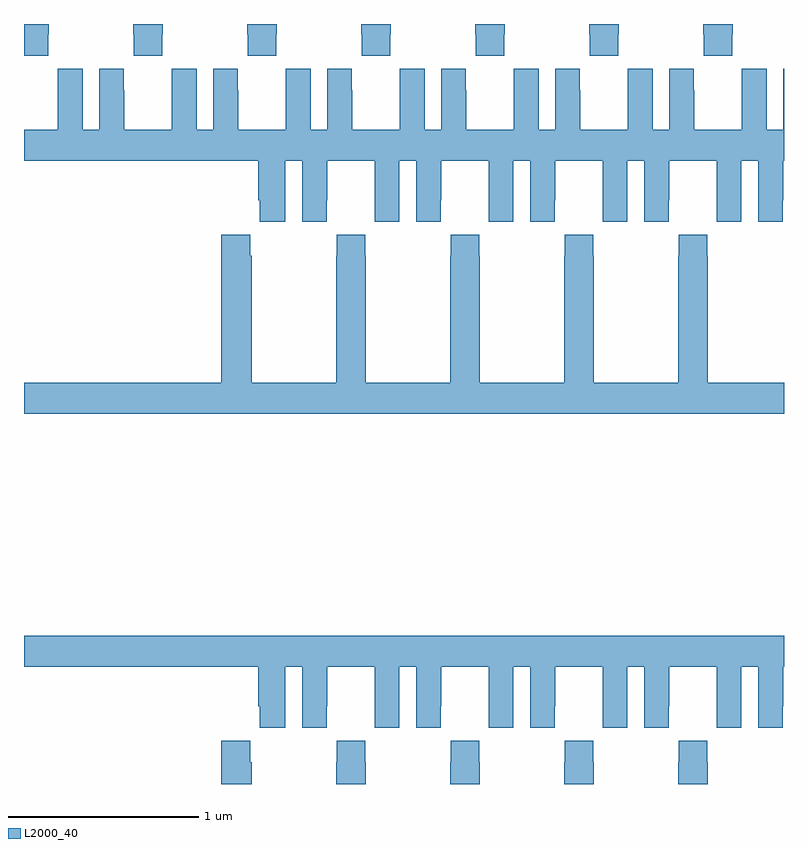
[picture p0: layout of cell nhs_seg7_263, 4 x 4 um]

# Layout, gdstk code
import gdstk
lib = gdstk.Library(unit=1e-6, precision=1e-09)
def P(c, l, *ps):  # polygons
    for p in ps: c.add(gdstk.Polygon(p, *l))
L2000_40 = (2000, 40)

nhs_seg7_263 = lib.new_cell('nhs_seg7_263')
P(nhs_seg7_263, L2000_40, [(134.727,1003.945),(134.73,1003.945),(134.73,1004),(134.575,1004),(134.575,1003.945),(134.577,1003.945),(134.577,1003.833),(134.727,1003.833)],
  [(131.127,1003.945),(131.13,1003.945),(131.13,1004),(131,1004),(131,1003.833),(131.127,1003.833)],
  [(131.727,1003.945),(131.73,1003.945),(131.73,1004),(131.575,1004),(131.575,1003.945),(131.577,1003.945),(131.577,1003.833),(131.727,1003.833)],
  [(132.327,1003.945),(132.33,1003.945),(132.33,1004),(132.175,1004),(132.175,1003.945),(132.177,1003.945),(132.177,1003.833),(132.327,1003.833)],
  [(132.927,1003.945),(132.93,1003.945),(132.93,1004),(132.775,1004),(132.775,1003.945),(132.777,1003.945),(132.777,1003.833),(132.927,1003.833)],
  [(133.527,1003.945),(133.53,1003.945),(133.53,1004),(133.375,1004),(133.375,1003.945),(133.377,1003.945),(133.377,1003.833),(133.527,1003.833)],
  [(134.127,1003.945),(134.13,1003.945),(134.13,1004),(133.975,1004),(133.975,1003.945),(133.977,1003.945),(133.977,1003.833),(134.127,1003.833)],
  [(133.927,1003.652),(133.926,1003.652),(133.926,1003.765),(133.796,1003.765),(133.796,1003.444),(133.708,1003.444),(133.708,1003.765),(133.578,1003.765),(133.578,1003.652),(133.577,1003.652),(133.577,1003.444),(133.327,1003.444),(133.327,1003.652),(133.326,1003.652),(133.326,1003.765),(133.196,1003.765),(133.196,1003.444),(133.108,1003.444),(133.108,1003.765),(132.978,1003.765),(132.978,1003.652),(132.977,1003.652),(132.977,1003.444),(132.727,1003.444),(132.727,1003.652),(132.726,1003.652),(132.726,1003.765),(132.596,1003.765),(132.596,1003.444),(132.508,1003.444),(132.508,1003.765),(132.378,1003.765),(132.378,1003.652),(132.377,1003.652),(132.377,1003.444),(132.127,1003.444),(132.127,1003.652),(132.126,1003.652),(132.126,1003.765),(131.996,1003.765),(131.996,1003.444),(131.908,1003.444),(131.908,1003.765),(131.778,1003.765),(131.778,1003.652),(131.777,1003.652),(131.777,1003.444),(131.527,1003.444),(131.527,1003.652),(131.526,1003.652),(131.526,1003.765),(131.396,1003.765),(131.396,1003.444),(131.308,1003.444),(131.308,1003.765),(131.178,1003.765),(131.178,1003.652),(131.177,1003.652),(131.177,1003.444),(131,1003.444),(131,1003.28),(132.233,1003.28),(132.233,1003.072),(132.242,1003.072),(132.242,1002.96),(132.376,1002.96),(132.376,1003.28),(132.464,1003.28),(132.464,1002.96),(132.594,1002.96),(132.594,1003.072),(132.595,1003.072),(132.595,1003.28),(132.845,1003.28),(132.845,1003.072),(132.846,1003.072),(132.846,1002.96),(132.976,1002.96),(132.976,1003.28),(133.064,1003.28),(133.064,1002.96),(133.194,1002.96),(133.194,1003.072),(133.195,1003.072),(133.195,1003.28),(133.445,1003.28),(133.445,1003.072),(133.446,1003.072),(133.446,1002.96),(133.576,1002.96),(133.576,1003.28),(133.664,1003.28),(133.664,1002.96),(133.794,1002.96),(133.794,1003.072),(133.795,1003.072),(133.795,1003.28),(134.045,1003.28),(134.045,1003.072),(134.046,1003.072),(134.046,1002.96),(134.176,1002.96),(134.176,1003.28),(134.264,1003.28),(134.264,1002.96),(134.394,1002.96),(134.394,1003.072),(134.395,1003.072),(134.395,1003.28),(134.645,1003.28),(134.645,1003.072),(134.646,1003.072),(134.646,1002.96),(134.776,1002.96),(134.776,1003.28),(134.864,1003.28),(134.864,1002.96),(134.994,1002.96),(134.994,1003.072),(134.995,1003.072),(134.995,1003.28),(135,1003.28),(135,1003.765),(134.996,1003.765),(134.996,1003.444),(134.908,1003.444),(134.908,1003.765),(134.778,1003.765),(134.778,1003.652),(134.777,1003.652),(134.777,1003.444),(134.527,1003.444),(134.527,1003.652),(134.526,1003.652),(134.526,1003.765),(134.396,1003.765),(134.396,1003.444),(134.308,1003.444),(134.308,1003.765),(134.178,1003.765),(134.178,1003.652),(134.177,1003.652),(134.177,1003.444),(133.927,1003.444)],
  [(133.245,1002.892),(133.245,1002.779),(133.243,1002.779),(133.243,1002.112),(132.798,1002.112),(132.798,1002.779),(132.795,1002.779),(132.795,1002.892),(132.645,1002.892),(132.645,1002.779),(132.643,1002.779),(132.643,1002.112),(132.198,1002.112),(132.198,1002.779),(132.191,1002.779),(132.191,1002.892),(132.038,1002.892),(132.038,1002.112),(131,1002.112),(131,1001.948),(135,1001.948),(135,1002.112),(134.598,1002.112),(134.598,1002.779),(134.595,1002.779),(134.595,1002.892),(134.445,1002.892),(134.445,1002.779),(134.443,1002.779),(134.443,1002.112),(133.998,1002.112),(133.998,1002.779),(133.995,1002.779),(133.995,1002.892),(133.845,1002.892),(133.845,1002.779),(133.843,1002.779),(133.843,1002.112),(133.398,1002.112),(133.398,1002.779),(133.395,1002.779),(133.395,1002.892)],
  [(132.376,1000.616),(132.464,1000.616),(132.464,1000.296),(132.594,1000.296),(132.594,1000.408),(132.595,1000.408),(132.595,1000.616),(132.845,1000.616),(132.845,1000.408),(132.846,1000.408),(132.846,1000.296),(132.976,1000.296),(132.976,1000.616),(133.064,1000.616),(133.064,1000.296),(133.194,1000.296),(133.194,1000.408),(133.195,1000.408),(133.195,1000.616),(133.445,1000.616),(133.445,1000.408),(133.446,1000.408),(133.446,1000.296),(133.576,1000.296),(133.576,1000.616),(133.664,1000.616),(133.664,1000.296),(133.794,1000.296),(133.794,1000.408),(133.795,1000.408),(133.795,1000.616),(134.045,1000.616),(134.045,1000.408),(134.046,1000.408),(134.046,1000.296),(134.176,1000.296),(134.176,1000.616),(134.264,1000.616),(134.264,1000.296),(134.394,1000.296),(134.394,1000.408),(134.395,1000.408),(134.395,1000.616),(134.645,1000.616),(134.645,1000.408),(134.646,1000.408),(134.646,1000.296),(134.776,1000.296),(134.776,1000.616),(134.864,1000.616),(134.864,1000.296),(134.994,1000.296),(134.994,1000.408),(134.995,1000.408),(134.995,1000.616),(135,1000.616),(135,1000.78),(131,1000.78),(131,1000.616),(132.233,1000.616),(132.233,1000.408),(132.242,1000.408),(132.242,1000.296),(132.376,1000.296)],
  [(132.198,1000.115),(132.191,1000.115),(132.191,1000.228),(132.038,1000.228),(132.038,1000),(132.198,1000)],
  [(132.798,1000.115),(132.795,1000.115),(132.795,1000.228),(132.645,1000.228),(132.645,1000.115),(132.643,1000.115),(132.643,1000),(132.798,1000)],
  [(133.998,1000.115),(133.995,1000.115),(133.995,1000.228),(133.845,1000.228),(133.845,1000.115),(133.843,1000.115),(133.843,1000),(133.998,1000)],
  [(134.598,1000.115),(134.595,1000.115),(134.595,1000.228),(134.445,1000.228),(134.445,1000.115),(134.443,1000.115),(134.443,1000),(134.598,1000)],
  [(133.398,1000.115),(133.395,1000.115),(133.395,1000.228),(133.245,1000.228),(133.245,1000.115),(133.243,1000.115),(133.243,1000),(133.398,1000)])

lib.write_gds('nhs_seg7_263.gds')
